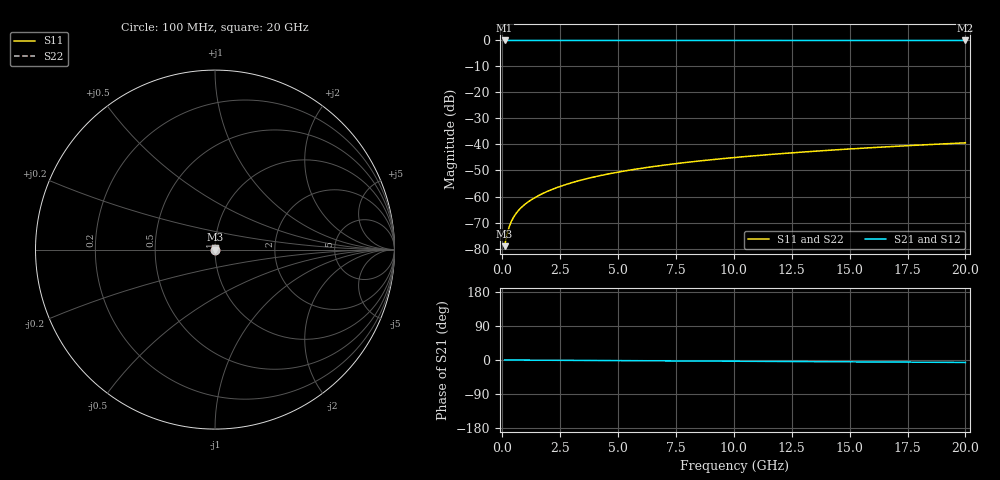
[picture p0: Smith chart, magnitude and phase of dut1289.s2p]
! Touchstone file exported from HFSS 2026.1.0
!  File:  C:/ffzhzh/LocalFiles/Ansys_Project_Files/temp_train_TSV_1289_1783194506_51560.aedt
!  Generated:  03:49:57 AM Jul  5, 2026
!  Design:  TSV
!  Project:  temp_train_TSV_1289_1783194506_51560
! Variables:
!  h_bsmrdl = 2um
!  h_ox = 20um
!  h_rdl = 5um
!  h_sub = 58.72um
!  h_tmrdl = 5um
!  h_tsv = 58.72um
!  h_via = 3um
!  l_bsmrdl = 300um
!  l_sub = 425.32um
!  l_tmrdl = 200um
!  m_sub = 200um
!  pitch = 55.3um
!  r_tsv = 12.66um
!  s_tmrdl = 10um
!  w_bsmrdl = 18um
!  w_sub = 500um
!  w_tmrdl = 12um
!  x_tsv_center1 = 206um
!  x_tsv_center2 = 524um
!  x_tsv_center3 = 736um
!  x_tsv_center4 = 1054um
!  x_tsv_center5 = 1266um
!  x_tsv_center6 = 1584um
# GHz S MA R 50.000000
! Terminal data exported
! Port[1] = TSV1_1_T1
! Port[2] = TSV1_1_T2
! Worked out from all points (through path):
!   200 points, 100 MHz to 20 GHz, reference 50 ohm
!   highest |S21| = 0.00 dB at 100 MHz (marker M1); lowest = 0.0 dB at 20 GHz (marker M2)
!   lowest |S11| = -79.1 dB at 100 MHz (marker M3), VSWR 1.00, Z = 50 + j0.00846 ohm
!   |S11| at or under -10 dB: start of sweep to end of sweep
!   |S22| runs from -79.1 to -39.4 dB; largest |S21 - S12| = 4e-15
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0.1  0.000111 49.7  0.9999 -0.0  0.9999 -0.0  0.000111 49.7
! Gamma 0 0 0 0
! Port Impedance 50 0 50 0
0.2  0.0001856 64.1  0.9999 -0.1  0.9999 -0.1  0.0001856 64.1
0.3  0.000263 68.8  0.9999 -0.1  0.9999 -0.1  0.000263 68.8
0.4  0.0003378 70.7  0.9999 -0.1  0.9999 -0.1  0.0003378 70.7
0.5  0.0004089 71.6  0.9999 -0.2  0.9999 -0.2  0.0004089 71.6
0.6  0.0004763 72.1  0.9999 -0.2  0.9999 -0.2  0.0004764 72.1
0.7  0.0005406 72.5  0.9998 -0.2  0.9998 -0.2  0.0005406 72.5
0.9  0.0006623 73.2  0.9998 -0.3  0.9998 -0.3  0.0006623 73.2
1.1  0.0007785 74.0  0.9998 -0.4  0.9998 -0.4  0.0007785 74.0
1.3  0.0008919 74.8  0.9998 -0.4  0.9998 -0.4  0.0008919 74.8
1.6  0.00106 75.9  0.9997 -0.5  0.9997 -0.5  0.00106 75.9
1.9  0.001228 76.8  0.9997 -0.6  0.9997 -0.6  0.001228 76.8
2.6  0.001619 78.3  0.9997 -0.8  0.9997 -0.8  0.001619 78.3
3.5  0.002121 79.4  0.9996 -1.1  0.9996 -1.1  0.002121 79.4
4.2  0.002507 79.9  0.9996 -1.4  0.9996 -1.4  0.002507 79.9
5  0.002944 80.3  0.9996 -1.6  0.9996 -1.6  0.002944 80.3
6.8  0.003913 80.6  0.9995 -2.2  0.9995 -2.2  0.003913 80.6
8.3  0.004709 80.7  0.9994 -2.7  0.9994 -2.7  0.004709 80.7
10.1  0.005656 80.7  0.9994 -3.3  0.9994 -3.3  0.005656 80.7
13.4  0.007376 80.4  0.9993 -4.3  0.9993 -4.3  0.007376 80.4
16.7  0.009078 79.8  0.9992 -5.4  0.9992 -5.4  0.009078 79.8
20  0.01076 79.1  0.9991 -6.4  0.9991 -6.4  0.01076 79.1
